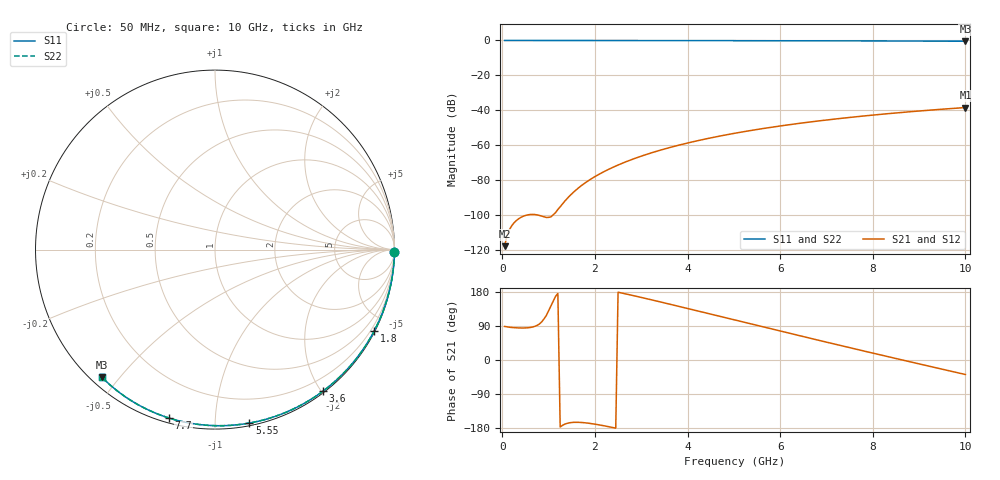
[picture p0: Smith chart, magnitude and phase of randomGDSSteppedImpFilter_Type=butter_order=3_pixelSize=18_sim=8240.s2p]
! freq	dB(S11)	phase(S11)	dB(S12)	phase(S12)
!  dB(S21)	phase(S21)	dB(S22)	phase(S22)
!S-par simulation data
#  GHz  S  DB  R 50
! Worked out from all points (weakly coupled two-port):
!   200 points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, 50 MHz to 10 GHz, reference 50 ohm
!   highest |S21| = -38.44 dB at 10 GHz (marker M1); lowest = -117.9 dB at 50 MHz (marker M2)
!   lowest |S11| = -0.4 dB at 10 GHz (marker M3), VSWR 39.07, Z = 1.54 - j22.4 ohm
!   |S11| at or under -10 dB: nowhere
!   |S22| runs from -0.4 to 0.0 dB; largest |S21 - S12| = 0
!   S11 on the Smith chart (normalised r, x): 50 MHz: open; 1.8 GHz: 0.04, -4.17; 3.6 GHz: 0.02, -2.02; 5.55 GHz: 0.02, -1.22; 7.7 GHz: 0.02, -0.76; 10 GHz: 0.03, -0.45
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0.05  -0.00 -0.8  -117.89 88.6  -117.89 88.6  -0.00 -0.8
0.9  -0.02 -13.6  -101.10 108.3  -101.10 108.3  -0.02 -13.6
1.75  -0.03 -26.2  -82.36 -165.3  -82.36 -165.3  -0.03 -26.2
1.8  -0.03 -27.0  -81.41 -165.9  -81.41 -165.9  -0.03 -27.0
1.85  -0.04 -27.7  -80.52 -166.6  -80.52 -166.6  -0.04 -27.7
1.9  -0.04 -28.4  -79.65 -167.4  -79.65 -167.4  -0.04 -28.4
2.05  -0.04 -30.6  -77.26 -170.3  -77.26 -170.3  -0.04 -30.6
2.25  -0.04 -33.5  -74.44 -174.8  -74.44 -174.8  -0.04 -33.5
2.45  -0.05 -36.4  -71.95 -179.8  -71.95 -179.8  -0.05 -36.4
2.65  -0.05 -39.3  -69.72 174.9  -69.72 174.9  -0.05 -39.3
3  -0.06 -44.3  -66.31 165.2  -66.31 165.2  -0.06 -44.3
3.4  -0.07 -50.0  -62.96 153.6  -62.96 153.6  -0.07 -49.9
3.6  -0.07 -52.7  -61.47 147.8  -61.47 147.8  -0.07 -52.7
4.3  -0.09 -62.3  -56.96 127.1  -56.96 127.1  -0.09 -62.3
5.05  -0.11 -72.3  -53.04 104.7  -53.04 104.7  -0.11 -72.3
5.55  -0.13 -78.8  -50.81 89.8  -50.81 89.8  -0.13 -78.8
6.1  -0.15 -85.7  -48.63 73.5  -48.63 73.5  -0.15 -85.7
6.7  -0.18 -93.2  -46.54 55.9  -46.54 55.9  -0.18 -93.2
7.7  -0.24 -105.2  -43.56 26.8  -43.56 26.8  -0.24 -105.2
8.35  -0.29 -112.8  -41.90 8.2  -41.90 8.2  -0.29 -112.8
9.15  -0.36 -122.0  -40.10 -14.5  -40.10 -14.5  -0.36 -122.0
10  -0.44 -131.6  -38.44 -38.3  -38.44 -38.3  -0.44 -131.6
